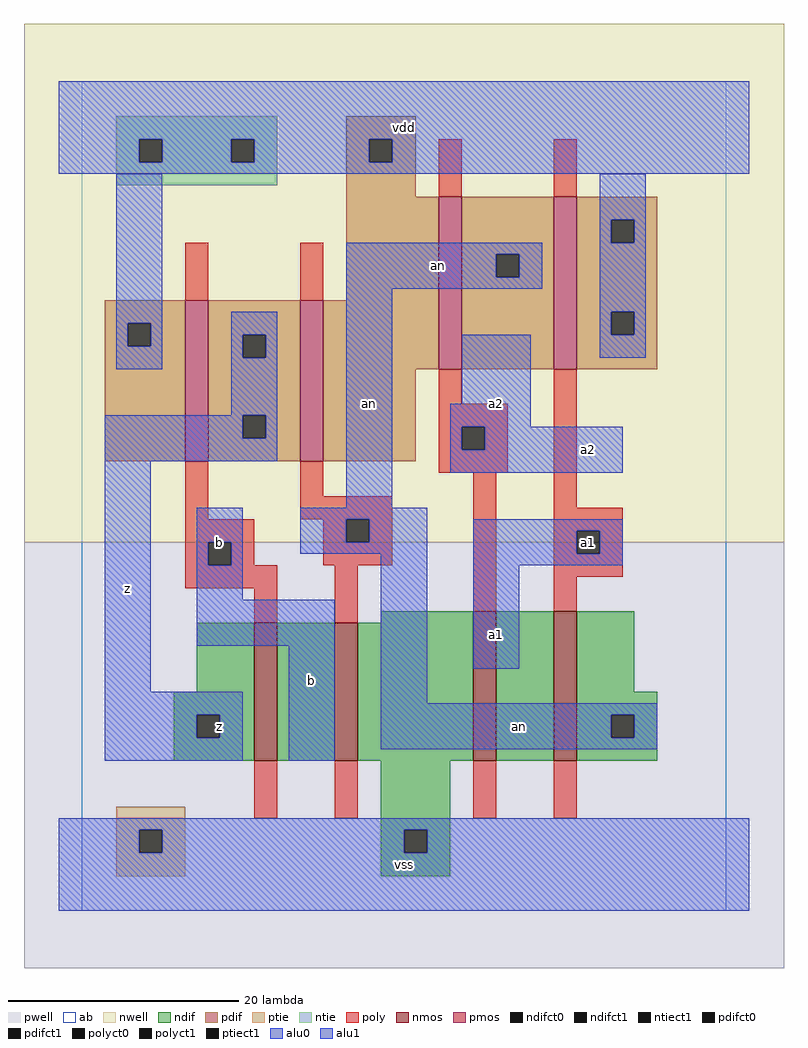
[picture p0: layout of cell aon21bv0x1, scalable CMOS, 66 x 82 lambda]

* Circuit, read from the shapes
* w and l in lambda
.subckt aon21bv0x1 a1 a2 an b vdd vss z
M1 n1 b z vss nfet w=12 l=2
M2 vss an n1 vss nfet w=12 l=2
M3 n2 a2 vss vss nfet w=13 l=2
M4 an a1 n2 vss nfet w=13 l=2
M5 z b vdd vdd pfet w=14 l=2
M6 vdd an z vdd pfet w=14 l=2
M7 an a2 vdd vdd pfet w=15 l=2
M8 vdd a1 an vdd pfet w=15 l=2
.ends

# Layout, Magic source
magic
tech scmos
<< ab >>
rect 0 0 56 72
<< nwell >>
rect -5 32 61 77
<< pwell >>
rect -5 -5 61 32
<< poly >>
rect 31 62 33 67
rect 41 62 43 67
rect 9 53 11 58
rect 19 53 21 58
rect 31 44 33 47
rect 31 42 37 44
rect 31 40 33 42
rect 35 40 37 42
rect 9 34 11 39
rect 19 36 21 39
rect 31 38 37 40
rect 19 34 27 36
rect 9 32 15 34
rect 9 30 11 32
rect 13 30 15 32
rect 21 32 23 34
rect 25 32 27 34
rect 21 30 27 32
rect 9 28 17 30
rect 15 25 17 28
rect 22 25 24 30
rect 34 26 36 38
rect 41 35 43 47
rect 41 33 47 35
rect 41 31 43 33
rect 45 31 47 33
rect 41 29 47 31
rect 41 26 43 29
rect 15 8 17 13
rect 22 8 24 13
rect 34 8 36 13
rect 41 8 43 13
<< ndif >>
rect 26 25 34 26
rect 10 19 15 25
rect 8 17 15 19
rect 8 15 10 17
rect 12 15 15 17
rect 8 13 15 15
rect 17 13 22 25
rect 24 13 34 25
rect 36 13 41 26
rect 43 19 48 26
rect 43 17 50 19
rect 43 15 46 17
rect 48 15 50 17
rect 43 13 50 15
rect 26 7 32 13
rect 26 5 28 7
rect 30 5 32 7
rect 26 3 32 5
<< pdif >>
rect 23 67 29 69
rect 23 65 25 67
rect 27 65 29 67
rect 23 62 29 65
rect 23 53 31 62
rect 2 51 9 53
rect 2 49 4 51
rect 6 49 9 51
rect 2 39 9 49
rect 11 50 19 53
rect 11 48 14 50
rect 16 48 19 50
rect 11 43 19 48
rect 11 41 14 43
rect 16 41 19 43
rect 11 39 19 41
rect 21 47 31 53
rect 33 57 41 62
rect 33 55 36 57
rect 38 55 41 57
rect 33 47 41 55
rect 43 60 50 62
rect 43 58 46 60
rect 48 58 50 60
rect 43 52 50 58
rect 43 50 46 52
rect 48 50 50 52
rect 43 47 50 50
rect 21 39 29 47
<< alu1 >>
rect -2 67 58 72
rect -2 65 5 67
rect 7 65 13 67
rect 15 65 25 67
rect 27 65 58 67
rect -2 64 58 65
rect 13 50 17 52
rect 13 48 14 50
rect 16 48 17 50
rect 13 43 17 48
rect 2 41 14 43
rect 16 41 17 43
rect 2 39 17 41
rect 2 19 6 39
rect 33 44 39 50
rect 32 42 39 44
rect 32 40 33 42
rect 35 40 47 42
rect 32 38 47 40
rect 10 32 14 35
rect 10 30 11 32
rect 13 30 14 32
rect 10 27 14 30
rect 10 23 22 27
rect 2 17 14 19
rect 2 15 10 17
rect 12 15 14 17
rect 2 13 14 15
rect 18 13 22 23
rect 34 33 47 34
rect 34 31 43 33
rect 45 31 47 33
rect 34 30 47 31
rect 34 21 38 30
rect -2 7 58 8
rect -2 5 5 7
rect 7 5 28 7
rect 30 5 58 7
rect -2 0 58 5
<< ptie >>
rect 3 7 9 9
rect 3 5 5 7
rect 7 5 9 7
rect 3 3 9 5
<< ntie >>
rect 3 67 17 69
rect 3 65 5 67
rect 7 65 13 67
rect 15 65 17 67
rect 3 63 17 65
<< nmos >>
rect 15 13 17 25
rect 22 13 24 25
rect 34 13 36 26
rect 41 13 43 26
<< pmos >>
rect 9 39 11 53
rect 19 39 21 53
rect 31 47 33 62
rect 41 47 43 62
<< polyct0 >>
rect 23 32 25 34
<< polyct1 >>
rect 33 40 35 42
rect 11 30 13 32
rect 43 31 45 33
<< ndifct0 >>
rect 46 15 48 17
<< ndifct1 >>
rect 10 15 12 17
rect 28 5 30 7
<< ntiect1 >>
rect 5 65 7 67
rect 13 65 15 67
<< ptiect1 >>
rect 5 5 7 7
<< pdifct0 >>
rect 4 49 6 51
rect 36 55 38 57
rect 46 58 48 60
rect 46 50 48 52
<< pdifct1 >>
rect 25 65 27 67
rect 14 48 16 50
rect 14 41 16 43
<< alu0 >>
rect 3 51 7 64
rect 45 60 49 64
rect 45 58 46 60
rect 48 58 49 60
rect 23 57 40 58
rect 23 55 36 57
rect 38 55 40 57
rect 23 54 40 55
rect 3 49 4 51
rect 6 49 7 51
rect 3 47 7 49
rect 23 35 27 54
rect 45 52 49 58
rect 45 50 46 52
rect 48 50 49 52
rect 45 48 49 50
rect 19 34 30 35
rect 19 32 23 34
rect 25 32 30 34
rect 19 31 30 32
rect 26 18 30 31
rect 26 17 50 18
rect 26 15 46 17
rect 48 15 50 17
rect 26 14 50 15
<< labels >>
rlabel alu0 25 44 25 44 6 an
rlabel alu0 38 16 38 16 6 an
rlabel alu0 31 56 31 56 6 an
rlabel alu1 4 28 4 28 6 z
rlabel alu1 20 20 20 20 6 b
rlabel alu1 12 16 12 16 6 z
rlabel alu1 12 32 12 32 6 b
rlabel alu1 28 4 28 4 6 vss
rlabel alu1 36 24 36 24 6 a1
rlabel alu1 36 44 36 44 6 a2
rlabel alu1 28 68 28 68 6 vdd
rlabel polyct1 44 32 44 32 6 a1
rlabel alu1 44 40 44 40 6 a2
<< end >>
